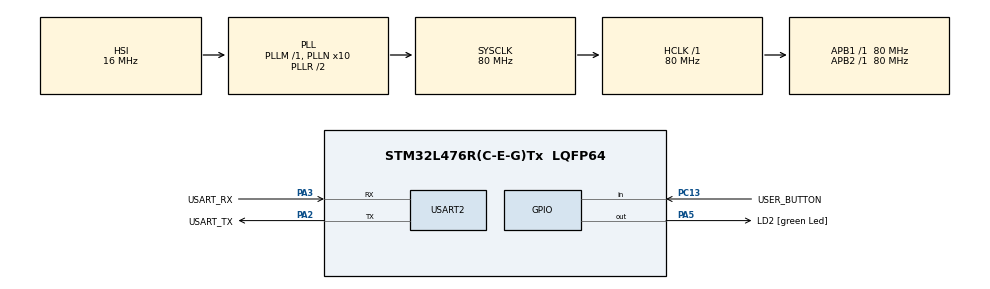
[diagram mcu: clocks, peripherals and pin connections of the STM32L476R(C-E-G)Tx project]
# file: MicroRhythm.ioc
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Mcu.Family=STM32L4
Mcu.Name=STM32L476R(C-E-G)Tx
Mcu.Package=LQFP64
NVIC.PriorityGroup=NVIC_PRIORITYGROUP_4
PA13\ (JTMS-SWDIO).GPIO_Label=TMS
PA13\ (JTMS-SWDIO).Mode=Serial_Wire
PA13\ (JTMS-SWDIO).Signal=SYS_JTMS-SWDIO
PA14\ (JTCK-SWCLK).GPIO_Label=TCK
PA14\ (JTCK-SWCLK).Mode=Serial_Wire
PA14\ (JTCK-SWCLK).Signal=SYS_JTCK-SWCLK
PA2.GPIO_Label=USART_TX
PA2.GPIO_Mode=GPIO_MODE_AF_PP
PA2.GPIO_PuPd=GPIO_NOPULL
PA2.GPIO_Speed=GPIO_SPEED_FREQ_VERY_HIGH
PA2.Mode=Asynchronous
PA2.Signal=USART2_TX
PA3.GPIO_Label=USART_RX
PA3.GPIO_Mode=GPIO_MODE_AF_PP
PA3.GPIO_PuPd=GPIO_NOPULL
PA3.GPIO_Speed=GPIO_SPEED_FREQ_VERY_HIGH
PA3.Mode=Asynchronous
PA3.Signal=USART2_RX
PA5.GPIO_Label=LD2 [green Led]
PA5.GPIO_ModeDefaultOutputPP=GPIO_MODE_OUTPUT_PP
PA5.GPIO_PuPd=GPIO_NOPULL
PA5.GPIO_Speed=GPIO_SPEED_FREQ_LOW
PA5.Signal=GPIO_Output
PB3\ (JTDO-TRACESWO).GPIO_Label=SWO
PB3\ (JTDO-TRACESWO).Signal=SYS_JTDO-SWO
PC13.GPIO_Label=USER_BUTTON
PC13.Signal=GPIO_Input
PC14-OSC32_IN\ (PC14).Mode=LSE-External-Oscillator
PC14-OSC32_IN\ (PC14).Signal=RCC_OSC32_IN
PC15-OSC32_OUT\ (PC15).Mode=LSE-External-Oscillator
PC15-OSC32_OUT\ (PC15).Signal=RCC_OSC32_OUT
PH0-OSC_IN\ (PH0).Signal=RCC_OSC_IN
PH1-OSC_OUT\ (PH1).Signal=RCC_OSC_OUT
ProjectManager.HeapSize=0x200
ProjectManager.StackSize=0x400
ProjectManager.TargetToolchain=STM32CubeIDE
RCC.ADCFreq_Value=64000000
RCC.AHBFreq_Value=80000000
RCC.APB1Freq_Value=80000000
RCC.APB1TimFreq_Value=80000000
RCC.APB2Freq_Value=80000000
RCC.APB2TimFreq_Value=80000000
RCC.CortexFreq_Value=80000000
RCC.HCLKFreq_Value=80000000
RCC.HSE_VALUE=8000000
RCC.HSI_VALUE=16000000
RCC.MSI_VALUE=4000000
RCC.PLLN=10
RCC.PLLSourceVirtual=RCC_PLLSOURCE_HSI
RCC.PREFETCH_ENABLE=1
RCC.SYSCLKFreq_VALUE=80000000
RCC.SYSCLKSource=RCC_SYSCLKSOURCE_PLLCLK
RCC.USBFreq_Value=64000000
RCC.VCOOutputFreq_Value=160000000
USART2.VirtualMode-Asynchronous=VM_ASYNC
board=NUCLEO-L476RG

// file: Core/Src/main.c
/* USER CODE BEGIN Header */
/**
  ******************************************************************************
  * @file           : main.c
  * @brief          : Main program body
  ******************************************************************************
  * @attention
  *
  * Copyright (c) 2023 STMicroelectronics.
  * All rights reserved.
  *
  * This software is licensed under terms that can be found in the LICENSE file
  * in the root directory of this software component.
  * If no LICENSE file comes with this software, it is provided AS-IS.
  *
  ******************************************************************************
  */
/* USER CODE END Header */
#include "main.h"

/* USER CODE BEGIN Includes */
#include <stdio.h>
#include <string.h>
#include <stdbool.h>
#include <stdlib.h>

/* USER CODE END Includes */

UART_HandleTypeDef huart2;

void SystemClock_Config(void);
static void MX_GPIO_Init(void);
static void MX_USART2_UART_Init(void);

/* USER CODE BEGIN 0 */
int __io_putchar(int ch){
	if(ch == '\n'){
		uint8_t ch2 = '\r';
		HAL_UART_Transmit(&huart2, &ch2, 1, HAL_MAX_DELAY);
	}
	HAL_UART_Transmit(&huart2, (uint8_t*)&ch, 1, HAL_MAX_DELAY);
	return 1;
}

/* USER CODE END 0 */

int main(void)
{

  /* MCU Configuration--------------------------------------------------------*/

  /* Reset of all peripherals, Initializes the Flash interface and the Systick. */
  HAL_Init();

  /* Configure the system clock */
  SystemClock_Config();

  /* Initialize all configured peripherals */
  MX_GPIO_Init();
  MX_USART2_UART_Init();

  /* Infinite loop */
  /* USER CODE BEGIN WHILE */
  uint32_t beat = 500;
  uint32_t halfBeat = beat/2;
  uint32_t ledTurn = 50;

  uint32_t delta = 0;

  HAL_GPIO_WritePin(LD2_GPIO_Port, LD2_Pin, GPIO_PIN_RESET);
  printf("\nMicroRhythm - a simple microcontroller rhythm game.\n");
  HAL_Delay(2000);
  printf("Your objective is to press the button along with the rhythm of the LED.\n");
  HAL_Delay(2000);
  printf("You will be rated on how close you were to the rhythm with each press (the closer to 0 the better).\n");
  HAL_Delay(3000);
  printf("Starting in 5...\n");
  HAL_Delay(beat);
  printf("4...\n");
  HAL_Delay(beat);
  printf("3...\n");
  HAL_Delay(beat);
  printf("2...\n");
  HAL_Delay(beat);
  printf("1...\n");
  HAL_Delay(beat/2);
  uint32_t startTick = HAL_GetTick();
  bool pressed = false;
  int ledState = 0;

  while (1)
  {
	delta = HAL_GetTick() - startTick;

	if(ledState == 0 && delta > halfBeat - ledTurn){
		ledState = 1;
		HAL_GPIO_WritePin(LD2_GPIO_Port, LD2_Pin, GPIO_PIN_SET);
	}
	else if(ledState == 1 && delta > halfBeat + ledTurn){
		ledState = 2;
		HAL_GPIO_WritePin(LD2_GPIO_Port, LD2_Pin, GPIO_PIN_RESET);
	}

	if(!pressed && HAL_GPIO_ReadPin(USER_BUTTON_GPIO_Port, USER_BUTTON_Pin) == GPIO_PIN_RESET){
		pressed = true;
		int32_t diff = (int32_t)delta - halfBeat;
		uint32_t absDiff = abs(diff);
		if(absDiff < 25)
			printf("Perfect - delta: %ldms\n", diff);
		else if(absDiff < 50)
			printf("Good - delta: %ldms\n", diff);
		else if(absDiff < 100)
			printf("Ok - delta: %ldms\n", diff);
		else
			printf("Bad - delta: %ldms\n", diff);
	}

	if(delta >= beat - 1){
		startTick += delta;
		if(!pressed)
			printf("You didn't press the button!\n");
		pressed = false;
		ledState = 0;
	}

    /* USER CODE END WHILE */

  }
}

void SystemClock_Config(void)
{
  RCC_OscInitTypeDef RCC_OscInitStruct = {0};
  RCC_ClkInitTypeDef RCC_ClkInitStruct = {0};

  /** Configure the main internal regulator output voltage
  */
  if (HAL_PWREx_ControlVoltageScaling(PWR_REGULATOR_VOLTAGE_SCALE1) != HAL_OK)
  {
    Error_Handler();
  }

  /** Initializes the RCC Oscillators according to the specified parameters
  * in the RCC_OscInitTypeDef structure.
  */
  RCC_OscInitStruct.OscillatorType = RCC_OSCILLATORTYPE_HSI;
  RCC_OscInitStruct.HSIState = RCC_HSI_ON;
  RCC_OscInitStruct.HSICalibrationValue = RCC_HSICALIBRATION_DEFAULT;
  RCC_OscInitStruct.PLL.PLLState = RCC_PLL_ON;
  RCC_OscInitStruct.PLL.PLLSource = RCC_PLLSOURCE_HSI;
  RCC_OscInitStruct.PLL.PLLM = 1;
  RCC_OscInitStruct.PLL.PLLN = 10;
  RCC_OscInitStruct.PLL.PLLP = RCC_PLLP_DIV7;
  RCC_OscInitStruct.PLL.PLLQ = RCC_PLLQ_DIV2;
  RCC_OscInitStruct.PLL.PLLR = RCC_PLLR_DIV2;
  if (HAL_RCC_OscConfig(&RCC_OscInitStruct) != HAL_OK)
  {
    Error_Handler();
  }

  /** Initializes the CPU, AHB and APB buses clocks
  */
  RCC_ClkInitStruct.ClockType = RCC_CLOCKTYPE_HCLK|RCC_CLOCKTYPE_SYSCLK
                              |RCC_CLOCKTYPE_PCLK1|RCC_CLOCKTYPE_PCLK2;
  RCC_ClkInitStruct.SYSCLKSource = RCC_SYSCLKSOURCE_PLLCLK;
  RCC_ClkInitStruct.AHBCLKDivider = RCC_SYSCLK_DIV1;
  RCC_ClkInitStruct.APB1CLKDivider = RCC_HCLK_DIV1;
  RCC_ClkInitStruct.APB2CLKDivider = RCC_HCLK_DIV1;

  if (HAL_RCC_ClockConfig(&RCC_ClkInitStruct, FLASH_LATENCY_4) != HAL_OK)
  {
    Error_Handler();
  }
}

static void MX_USART2_UART_Init(void)
{

  huart2.Instance = USART2;
  huart2.Init.BaudRate = 115200;
  huart2.Init.WordLength = UART_WORDLENGTH_8B;
  huart2.Init.StopBits = UART_STOPBITS_1;
  huart2.Init.Parity = UART_PARITY_NONE;
  huart2.Init.Mode = UART_MODE_TX_RX;
  huart2.Init.HwFlowCtl = UART_HWCONTROL_NONE;
  huart2.Init.OverSampling = UART_OVERSAMPLING_16;
  huart2.Init.OneBitSampling = UART_ONE_BIT_SAMPLE_DISABLE;
  huart2.AdvancedInit.AdvFeatureInit = UART_ADVFEATURE_NO_INIT;
  if (HAL_UART_Init(&huart2) != HAL_OK)
  {
    Error_Handler();
  }

}

static void MX_GPIO_Init(void)
{
  GPIO_InitTypeDef GPIO_InitStruct = {0};

  /* GPIO Ports Clock Enable */
  __HAL_RCC_GPIOC_CLK_ENABLE();
  __HAL_RCC_GPIOH_CLK_ENABLE();
  __HAL_RCC_GPIOA_CLK_ENABLE();
  __HAL_RCC_GPIOB_CLK_ENABLE();

  /*Configure GPIO pin Output Level */
  HAL_GPIO_WritePin(LD2_GPIO_Port, LD2_Pin, GPIO_PIN_RESET);

  /*Configure GPIO pin : USER_BUTTON_Pin */
  GPIO_InitStruct.Pin = USER_BUTTON_Pin;
  GPIO_InitStruct.Mode = GPIO_MODE_INPUT;
  GPIO_InitStruct.Pull = GPIO_NOPULL;
  HAL_GPIO_Init(USER_BUTTON_GPIO_Port, &GPIO_InitStruct);

  /*Configure GPIO pin : LD2_Pin */
  GPIO_InitStruct.Pin = LD2_Pin;
  GPIO_InitStruct.Mode = GPIO_MODE_OUTPUT_PP;
  GPIO_InitStruct.Pull = GPIO_NOPULL;
  GPIO_InitStruct.Speed = GPIO_SPEED_FREQ_LOW;
  HAL_GPIO_Init(LD2_GPIO_Port, &GPIO_InitStruct);

}

void Error_Handler(void)
{
  __disable_irq();
  while (1)
  {
  }
}
